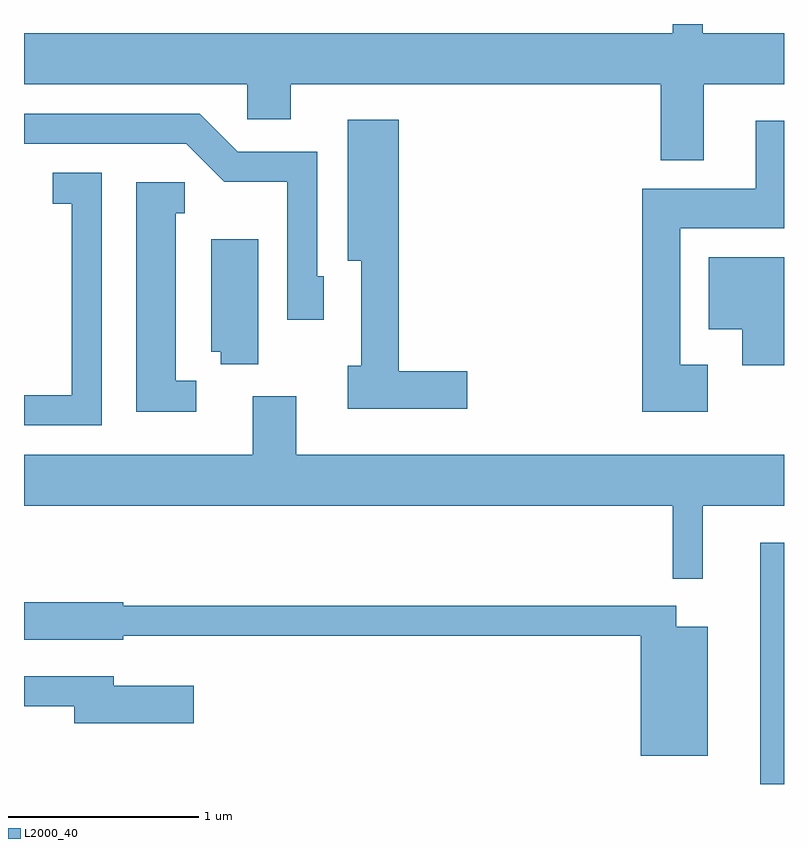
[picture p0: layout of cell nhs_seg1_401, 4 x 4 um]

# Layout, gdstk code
import gdstk
lib = gdstk.Library(unit=1e-6, precision=1e-09)
def R(c, l, rs):  # rectangles x0, y0, x1, y1
    for r in rs: c.add(gdstk.rectangle(r[:2], r[2:], *l))
def P(c, l, *ps):  # polygons
    for p in ps: c.add(gdstk.Polygon(p, *l))
L2000_40 = (2000, 40)

nhs_seg1_401 = lib.new_cell('nhs_seg1_401')
R(nhs_seg1_401, L2000_40, [(201.486,853.712,201.611,854.983)])
P(nhs_seg1_401, L2000_40, [(201.189,857.396),(201.611,857.396),(201.611,857.664),(201.184,857.664),(201.184,857.712),(201.026,857.712),(201.026,857.664),(197.611,857.664),(197.611,857.396),(198.786,857.396),(198.786,857.211),(199.014,857.211),(199.014,857.396),(200.961,857.396),(200.961,856.996),(201.189,856.996)],
  [(199.189,856.384),(199.154,856.384),(199.154,857.039),(198.737,857.039),(198.537,857.239),(197.611,857.239),(197.611,857.081),(198.464,857.081),(198.664,856.881),(198.996,856.881),(198.996,856.156),(199.189,856.156)],
  [(199.944,855.884),(199.584,855.884),(199.584,857.209),(199.316,857.209),(199.316,856.466),(199.386,856.466),(199.386,855.914),(199.316,855.914),(199.316,855.686),(199.944,855.686)],
  [(201.209,855.919),(201.064,855.919),(201.064,856.636),(201.611,856.636),(201.611,857.204),(201.461,857.204),(201.461,856.844),(200.866,856.844),(200.866,855.671),(201.209,855.671)],
  [(198.019,856.929),(197.763,856.929),(197.763,856.766),(197.861,856.766),(197.861,855.759),(197.611,855.759),(197.611,855.601),(198.019,855.601)],
  [(198.518,855.834),(198.409,855.834),(198.409,856.716),(198.458,856.716),(198.458,856.879),(198.201,856.879),(198.201,855.671),(198.518,855.671)],
  [(198.844,856.579),(198.596,856.579),(198.596,855.986),(198.646,855.986),(198.646,855.921),(198.844,855.921)],
  [(201.611,856.484),(201.216,856.484),(201.216,856.106),(201.391,856.106),(201.391,855.916),(201.611,855.916)],
  [(201.184,855.176),(201.611,855.176),(201.611,855.444),(199.044,855.444),(199.044,855.754),(198.816,855.754),(198.816,855.444),(197.611,855.444),(197.611,855.176),(201.026,855.176),(201.026,854.793),(201.184,854.793)],
  [(201.209,854.539),(201.044,854.539),(201.044,854.649),(198.134,854.649),(198.134,854.669),(197.611,854.669),(197.611,854.471),(198.134,854.471),(198.134,854.491),(200.856,854.491),(200.856,853.861),(201.209,853.861)],
  [(198.504,854.229),(198.084,854.229),(198.084,854.279),(197.611,854.279),(197.611,854.121),(197.876,854.121),(197.876,854.031),(198.504,854.031)])

lib.write_gds('nhs_seg1_401.gds')
